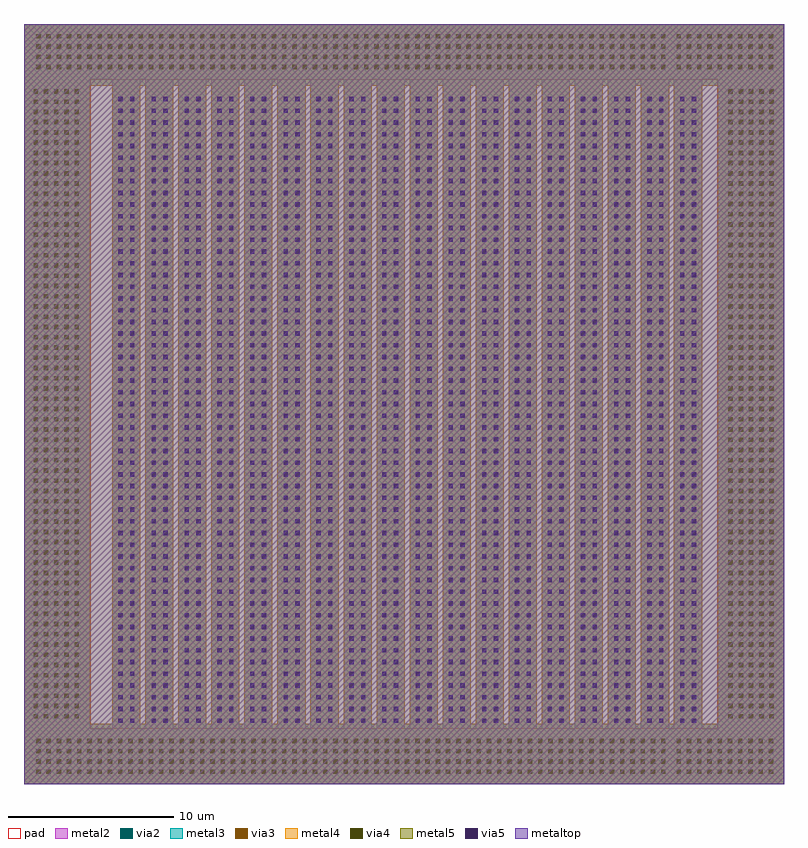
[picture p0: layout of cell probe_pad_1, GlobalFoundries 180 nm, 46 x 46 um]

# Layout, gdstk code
import gdstk
lib = gdstk.Library(unit=1e-6, precision=1e-09)
def R(c, l, rs):  # rectangles x0, y0, x1, y1
    for r in rs: c.add(gdstk.rectangle(r[:2], r[2:], *l))
def A(c, l, x, y, w, h, nx, ny, dx, dy):  # array of equal rectangles
    R(c, l, [(x+i*dx, y+j*dy, x+i*dx+w, y+j*dy+h) for i in range(nx) for j in range(ny)])
metal2 = (36, 0)
pad = (37, 0)
via2 = (38, 0)
via3 = (40, 0)
via4 = (41, 0)
metal3 = (42, 0)
metal4 = (46, 0)
metaltop = (53, 0)
metal5 = (81, 0)
via5 = (82, 0)

probe_pad_1 = lib.new_cell('probe_pad_1')
A(probe_pad_1, metal2, 5.34, 3.35, 1.7, 39.3, 18, 1, 2, 0)
R(probe_pad_1, metal2, [(0,0,46,3.35), (0,3.35,4,42.65), (42,3.35,46,42.65), (0,42.65,46,46)])
R(probe_pad_1, pad, [(4,3.35,42,42.65)])
A(probe_pad_1, via2, 0.74, 0.615, 0.26, 0.26, 62, 4, 0.62, 0.62)
A(probe_pad_1, via2, 39.5, 0.615, 0.26, 0.26, 10, 4, 0.62, 0.62)
A(probe_pad_1, via2, 5.715, 3.7, 0.26, 0.26, 1, 54, 0, 0.71)
A(probe_pad_1, via2, 6.425, 3.7, 0.26, 0.26, 1, 54, 0, 0.71)
A(probe_pad_1, via2, 7.72, 3.7, 0.26, 0.26, 1, 54, 0, 0.71)
A(probe_pad_1, via2, 8.43, 3.7, 0.26, 0.26, 1, 54, 0, 0.71)
A(probe_pad_1, via2, 9.72, 3.7, 0.26, 0.26, 1, 54, 0, 0.71)
A(probe_pad_1, via2, 10.43, 3.7, 0.26, 0.26, 1, 54, 0, 0.71)
A(probe_pad_1, via2, 11.705, 3.7, 0.26, 0.26, 1, 54, 0, 0.71)
A(probe_pad_1, via2, 12.415, 3.7, 0.26, 0.26, 1, 54, 0, 0.71)
A(probe_pad_1, via2, 13.69, 3.7, 0.26, 0.26, 1, 54, 0, 0.71)
A(probe_pad_1, via2, 14.4, 3.7, 0.26, 0.26, 1, 54, 0, 0.71)
A(probe_pad_1, via2, 15.71, 3.7, 0.26, 0.26, 1, 54, 0, 0.71)
A(probe_pad_1, via2, 16.42, 3.7, 0.26, 0.26, 1, 54, 0, 0.71)
A(probe_pad_1, via2, 17.69, 3.7, 0.26, 0.26, 1, 54, 0, 0.71)
A(probe_pad_1, via2, 18.4, 3.7, 0.26, 0.26, 1, 54, 0, 0.71)
A(probe_pad_1, via2, 19.69, 3.7, 0.26, 0.26, 1, 54, 0, 0.71)
A(probe_pad_1, via2, 20.4, 3.7, 0.26, 0.26, 1, 54, 0, 0.71)
A(probe_pad_1, via2, 21.675, 3.7, 0.26, 0.26, 1, 54, 0, 0.71)
A(probe_pad_1, via2, 22.385, 3.7, 0.26, 0.26, 1, 54, 0, 0.71)
A(probe_pad_1, via2, 23.7, 3.7, 0.26, 0.26, 1, 54, 0, 0.71)
A(probe_pad_1, via2, 24.41, 3.7, 0.26, 0.26, 1, 54, 0, 0.71)
A(probe_pad_1, via2, 25.7, 3.7, 0.26, 0.26, 1, 54, 0, 0.71)
A(probe_pad_1, via2, 26.41, 3.7, 0.26, 0.26, 1, 54, 0, 0.71)
A(probe_pad_1, via2, 27.725, 3.7, 0.26, 0.26, 1, 54, 0, 0.71)
A(probe_pad_1, via2, 28.435, 3.7, 0.26, 0.26, 1, 54, 0, 0.71)
A(probe_pad_1, via2, 29.71, 3.7, 0.26, 0.26, 1, 54, 0, 0.71)
A(probe_pad_1, via2, 30.42, 3.7, 0.26, 0.26, 1, 54, 0, 0.71)
A(probe_pad_1, via2, 31.695, 3.7, 0.26, 0.26, 1, 54, 0, 0.71)
A(probe_pad_1, via2, 32.405, 3.7, 0.26, 0.26, 1, 54, 0, 0.71)
A(probe_pad_1, via2, 33.71, 3.7, 0.26, 0.26, 1, 54, 0, 0.71)
A(probe_pad_1, via2, 34.42, 3.7, 0.26, 0.26, 1, 54, 0, 0.71)
A(probe_pad_1, via2, 35.72, 3.7, 0.26, 0.26, 1, 54, 0, 0.71)
A(probe_pad_1, via2, 36.43, 3.7, 0.26, 0.26, 1, 54, 0, 0.71)
A(probe_pad_1, via2, 37.735, 3.7, 0.26, 0.26, 1, 54, 0, 0.71)
A(probe_pad_1, via2, 38.445, 3.7, 0.26, 0.26, 1, 54, 0, 0.71)
A(probe_pad_1, via2, 39.715, 3.7, 0.26, 0.26, 1, 54, 0, 0.71)
A(probe_pad_1, via2, 40.425, 3.7, 0.26, 0.26, 1, 54, 0, 0.71)
A(probe_pad_1, via2, 0.58, 3.97, 0.26, 0.26, 5, 62, 0.62, 0.62)
A(probe_pad_1, via2, 42.64, 3.97, 0.26, 0.26, 5, 62, 0.62, 0.62)
A(probe_pad_1, via2, 0.74, 43.265, 0.26, 0.26, 62, 4, 0.62, 0.62)
A(probe_pad_1, via2, 39.5, 43.265, 0.26, 0.26, 10, 4, 0.62, 0.62)
A(probe_pad_1, via3, 0.74, 0.615, 0.26, 0.26, 62, 4, 0.62, 0.62)
A(probe_pad_1, via3, 39.5, 0.615, 0.26, 0.26, 10, 4, 0.62, 0.62)
A(probe_pad_1, via3, 5.715, 3.7, 0.26, 0.26, 1, 54, 0, 0.71)
A(probe_pad_1, via3, 6.425, 3.7, 0.26, 0.26, 1, 54, 0, 0.71)
A(probe_pad_1, via3, 7.72, 3.7, 0.26, 0.26, 1, 54, 0, 0.71)
A(probe_pad_1, via3, 8.43, 3.7, 0.26, 0.26, 1, 54, 0, 0.71)
A(probe_pad_1, via3, 9.72, 3.7, 0.26, 0.26, 1, 54, 0, 0.71)
A(probe_pad_1, via3, 10.43, 3.7, 0.26, 0.26, 1, 54, 0, 0.71)
A(probe_pad_1, via3, 11.705, 3.7, 0.26, 0.26, 1, 54, 0, 0.71)
A(probe_pad_1, via3, 12.415, 3.7, 0.26, 0.26, 1, 54, 0, 0.71)
A(probe_pad_1, via3, 13.69, 3.7, 0.26, 0.26, 1, 54, 0, 0.71)
A(probe_pad_1, via3, 14.4, 3.7, 0.26, 0.26, 1, 54, 0, 0.71)
A(probe_pad_1, via3, 15.71, 3.7, 0.26, 0.26, 1, 54, 0, 0.71)
A(probe_pad_1, via3, 16.42, 3.7, 0.26, 0.26, 1, 54, 0, 0.71)
A(probe_pad_1, via3, 17.69, 3.7, 0.26, 0.26, 1, 54, 0, 0.71)
A(probe_pad_1, via3, 18.4, 3.7, 0.26, 0.26, 1, 54, 0, 0.71)
A(probe_pad_1, via3, 19.69, 3.7, 0.26, 0.26, 1, 54, 0, 0.71)
A(probe_pad_1, via3, 20.4, 3.7, 0.26, 0.26, 1, 54, 0, 0.71)
A(probe_pad_1, via3, 21.675, 3.7, 0.26, 0.26, 1, 54, 0, 0.71)
A(probe_pad_1, via3, 22.385, 3.7, 0.26, 0.26, 1, 54, 0, 0.71)
A(probe_pad_1, via3, 23.7, 3.7, 0.26, 0.26, 1, 54, 0, 0.71)
A(probe_pad_1, via3, 24.41, 3.7, 0.26, 0.26, 1, 54, 0, 0.71)
A(probe_pad_1, via3, 25.7, 3.7, 0.26, 0.26, 1, 54, 0, 0.71)
A(probe_pad_1, via3, 26.41, 3.7, 0.26, 0.26, 1, 54, 0, 0.71)
A(probe_pad_1, via3, 27.725, 3.7, 0.26, 0.26, 1, 54, 0, 0.71)
A(probe_pad_1, via3, 28.435, 3.7, 0.26, 0.26, 1, 54, 0, 0.71)
A(probe_pad_1, via3, 29.71, 3.7, 0.26, 0.26, 1, 54, 0, 0.71)
A(probe_pad_1, via3, 30.42, 3.7, 0.26, 0.26, 1, 54, 0, 0.71)
A(probe_pad_1, via3, 31.695, 3.7, 0.26, 0.26, 1, 54, 0, 0.71)
A(probe_pad_1, via3, 32.405, 3.7, 0.26, 0.26, 1, 54, 0, 0.71)
A(probe_pad_1, via3, 33.71, 3.7, 0.26, 0.26, 1, 54, 0, 0.71)
A(probe_pad_1, via3, 34.42, 3.7, 0.26, 0.26, 1, 54, 0, 0.71)
A(probe_pad_1, via3, 35.72, 3.7, 0.26, 0.26, 1, 54, 0, 0.71)
A(probe_pad_1, via3, 36.43, 3.7, 0.26, 0.26, 1, 54, 0, 0.71)
A(probe_pad_1, via3, 37.735, 3.7, 0.26, 0.26, 1, 54, 0, 0.71)
A(probe_pad_1, via3, 38.445, 3.7, 0.26, 0.26, 1, 54, 0, 0.71)
A(probe_pad_1, via3, 39.715, 3.7, 0.26, 0.26, 1, 54, 0, 0.71)
A(probe_pad_1, via3, 40.425, 3.7, 0.26, 0.26, 1, 54, 0, 0.71)
A(probe_pad_1, via3, 0.58, 3.97, 0.26, 0.26, 5, 62, 0.62, 0.62)
A(probe_pad_1, via3, 42.64, 3.97, 0.26, 0.26, 5, 62, 0.62, 0.62)
A(probe_pad_1, via3, 0.74, 43.265, 0.26, 0.26, 62, 4, 0.62, 0.62)
A(probe_pad_1, via3, 39.5, 43.265, 0.26, 0.26, 10, 4, 0.62, 0.62)
A(probe_pad_1, via4, 0.74, 0.615, 0.26, 0.26, 62, 4, 0.62, 0.62)
A(probe_pad_1, via4, 39.5, 0.615, 0.26, 0.26, 10, 4, 0.62, 0.62)
A(probe_pad_1, via4, 5.715, 3.7, 0.26, 0.26, 1, 54, 0, 0.71)
A(probe_pad_1, via4, 6.425, 3.7, 0.26, 0.26, 1, 54, 0, 0.71)
A(probe_pad_1, via4, 7.72, 3.7, 0.26, 0.26, 1, 54, 0, 0.71)
A(probe_pad_1, via4, 8.43, 3.7, 0.26, 0.26, 1, 54, 0, 0.71)
A(probe_pad_1, via4, 9.72, 3.7, 0.26, 0.26, 1, 54, 0, 0.71)
A(probe_pad_1, via4, 10.43, 3.7, 0.26, 0.26, 1, 54, 0, 0.71)
A(probe_pad_1, via4, 11.705, 3.7, 0.26, 0.26, 1, 54, 0, 0.71)
A(probe_pad_1, via4, 12.415, 3.7, 0.26, 0.26, 1, 54, 0, 0.71)
A(probe_pad_1, via4, 13.69, 3.7, 0.26, 0.26, 1, 54, 0, 0.71)
A(probe_pad_1, via4, 14.4, 3.7, 0.26, 0.26, 1, 54, 0, 0.71)
A(probe_pad_1, via4, 15.71, 3.7, 0.26, 0.26, 1, 54, 0, 0.71)
A(probe_pad_1, via4, 16.42, 3.7, 0.26, 0.26, 1, 54, 0, 0.71)
A(probe_pad_1, via4, 17.69, 3.7, 0.26, 0.26, 1, 54, 0, 0.71)
A(probe_pad_1, via4, 18.4, 3.7, 0.26, 0.26, 1, 54, 0, 0.71)
A(probe_pad_1, via4, 19.69, 3.7, 0.26, 0.26, 1, 54, 0, 0.71)
A(probe_pad_1, via4, 20.4, 3.7, 0.26, 0.26, 1, 54, 0, 0.71)
A(probe_pad_1, via4, 21.675, 3.7, 0.26, 0.26, 1, 54, 0, 0.71)
A(probe_pad_1, via4, 22.385, 3.7, 0.26, 0.26, 1, 54, 0, 0.71)
A(probe_pad_1, via4, 23.7, 3.7, 0.26, 0.26, 1, 54, 0, 0.71)
A(probe_pad_1, via4, 24.41, 3.7, 0.26, 0.26, 1, 54, 0, 0.71)
A(probe_pad_1, via4, 25.7, 3.7, 0.26, 0.26, 1, 54, 0, 0.71)
A(probe_pad_1, via4, 26.41, 3.7, 0.26, 0.26, 1, 54, 0, 0.71)
A(probe_pad_1, via4, 27.725, 3.7, 0.26, 0.26, 1, 54, 0, 0.71)
A(probe_pad_1, via4, 28.435, 3.7, 0.26, 0.26, 1, 54, 0, 0.71)
A(probe_pad_1, via4, 29.71, 3.7, 0.26, 0.26, 1, 54, 0, 0.71)
A(probe_pad_1, via4, 30.42, 3.7, 0.26, 0.26, 1, 54, 0, 0.71)
A(probe_pad_1, via4, 31.695, 3.7, 0.26, 0.26, 1, 54, 0, 0.71)
A(probe_pad_1, via4, 32.405, 3.7, 0.26, 0.26, 1, 54, 0, 0.71)
A(probe_pad_1, via4, 33.71, 3.7, 0.26, 0.26, 1, 54, 0, 0.71)
A(probe_pad_1, via4, 34.42, 3.7, 0.26, 0.26, 1, 54, 0, 0.71)
A(probe_pad_1, via4, 35.72, 3.7, 0.26, 0.26, 1, 54, 0, 0.71)
A(probe_pad_1, via4, 36.43, 3.7, 0.26, 0.26, 1, 54, 0, 0.71)
A(probe_pad_1, via4, 37.735, 3.7, 0.26, 0.26, 1, 54, 0, 0.71)
A(probe_pad_1, via4, 38.445, 3.7, 0.26, 0.26, 1, 54, 0, 0.71)
A(probe_pad_1, via4, 39.715, 3.7, 0.26, 0.26, 1, 54, 0, 0.71)
A(probe_pad_1, via4, 40.425, 3.7, 0.26, 0.26, 1, 54, 0, 0.71)
A(probe_pad_1, via4, 0.58, 3.97, 0.26, 0.26, 5, 62, 0.62, 0.62)
A(probe_pad_1, via4, 42.64, 3.97, 0.26, 0.26, 5, 62, 0.62, 0.62)
A(probe_pad_1, via4, 0.74, 43.265, 0.26, 0.26, 62, 4, 0.62, 0.62)
A(probe_pad_1, via4, 39.5, 43.265, 0.26, 0.26, 10, 4, 0.62, 0.62)
A(probe_pad_1, metal3, 5.34, 3.64, 1.7, 38.61, 18, 1, 2, 0)
R(probe_pad_1, metal3, [(0,0,46,3.64), (0,3.64,4,42.25), (42,3.64,46,42.25), (0,42.25,46,46)])
A(probe_pad_1, metal4, 5.34, 3.64, 1.7, 38.61, 18, 1, 2, 0)
R(probe_pad_1, metal4, [(0,0,46,3.64), (0,3.64,4,42.25), (42,3.64,46,42.25), (0,42.25,46,46)])
R(probe_pad_1, metaltop, [(0,0,46,46)])
R(probe_pad_1, metal5, [(0,0,46,46)])
A(probe_pad_1, via5, 5.715, 3.7, 0.26, 0.26, 1, 54, 0, 0.71)
A(probe_pad_1, via5, 6.425, 3.7, 0.26, 0.26, 1, 54, 0, 0.71)
A(probe_pad_1, via5, 7.72, 3.7, 0.26, 0.26, 1, 54, 0, 0.71)
A(probe_pad_1, via5, 8.43, 3.7, 0.26, 0.26, 1, 54, 0, 0.71)
A(probe_pad_1, via5, 9.72, 3.7, 0.26, 0.26, 1, 54, 0, 0.71)
A(probe_pad_1, via5, 10.43, 3.7, 0.26, 0.26, 1, 54, 0, 0.71)
A(probe_pad_1, via5, 11.705, 3.7, 0.26, 0.26, 1, 54, 0, 0.71)
A(probe_pad_1, via5, 12.415, 3.7, 0.26, 0.26, 1, 54, 0, 0.71)
A(probe_pad_1, via5, 13.69, 3.7, 0.26, 0.26, 1, 54, 0, 0.71)
A(probe_pad_1, via5, 14.4, 3.7, 0.26, 0.26, 1, 54, 0, 0.71)
A(probe_pad_1, via5, 15.71, 3.7, 0.26, 0.26, 1, 54, 0, 0.71)
A(probe_pad_1, via5, 16.42, 3.7, 0.26, 0.26, 1, 54, 0, 0.71)
A(probe_pad_1, via5, 17.69, 3.7, 0.26, 0.26, 1, 54, 0, 0.71)
A(probe_pad_1, via5, 18.4, 3.7, 0.26, 0.26, 1, 54, 0, 0.71)
A(probe_pad_1, via5, 19.69, 3.7, 0.26, 0.26, 1, 54, 0, 0.71)
A(probe_pad_1, via5, 20.4, 3.7, 0.26, 0.26, 1, 54, 0, 0.71)
A(probe_pad_1, via5, 21.675, 3.7, 0.26, 0.26, 1, 54, 0, 0.71)
A(probe_pad_1, via5, 22.385, 3.7, 0.26, 0.26, 1, 54, 0, 0.71)
A(probe_pad_1, via5, 23.7, 3.7, 0.26, 0.26, 1, 54, 0, 0.71)
A(probe_pad_1, via5, 24.41, 3.7, 0.26, 0.26, 1, 54, 0, 0.71)
A(probe_pad_1, via5, 25.7, 3.7, 0.26, 0.26, 1, 54, 0, 0.71)
A(probe_pad_1, via5, 26.41, 3.7, 0.26, 0.26, 1, 54, 0, 0.71)
A(probe_pad_1, via5, 27.725, 3.7, 0.26, 0.26, 1, 54, 0, 0.71)
A(probe_pad_1, via5, 28.435, 3.7, 0.26, 0.26, 1, 54, 0, 0.71)
A(probe_pad_1, via5, 29.71, 3.7, 0.26, 0.26, 1, 54, 0, 0.71)
A(probe_pad_1, via5, 30.42, 3.7, 0.26, 0.26, 1, 54, 0, 0.71)
A(probe_pad_1, via5, 31.695, 3.7, 0.26, 0.26, 1, 54, 0, 0.71)
A(probe_pad_1, via5, 32.405, 3.7, 0.26, 0.26, 1, 54, 0, 0.71)
A(probe_pad_1, via5, 33.71, 3.7, 0.26, 0.26, 1, 54, 0, 0.71)
A(probe_pad_1, via5, 34.42, 3.7, 0.26, 0.26, 1, 54, 0, 0.71)
A(probe_pad_1, via5, 35.72, 3.7, 0.26, 0.26, 1, 54, 0, 0.71)
A(probe_pad_1, via5, 36.43, 3.7, 0.26, 0.26, 1, 54, 0, 0.71)
A(probe_pad_1, via5, 37.735, 3.7, 0.26, 0.26, 1, 54, 0, 0.71)
A(probe_pad_1, via5, 38.445, 3.7, 0.26, 0.26, 1, 54, 0, 0.71)
A(probe_pad_1, via5, 39.715, 3.7, 0.26, 0.26, 1, 54, 0, 0.71)
A(probe_pad_1, via5, 40.425, 3.7, 0.26, 0.26, 1, 54, 0, 0.71)

lib.write_gds('probe_pad_1.gds')
